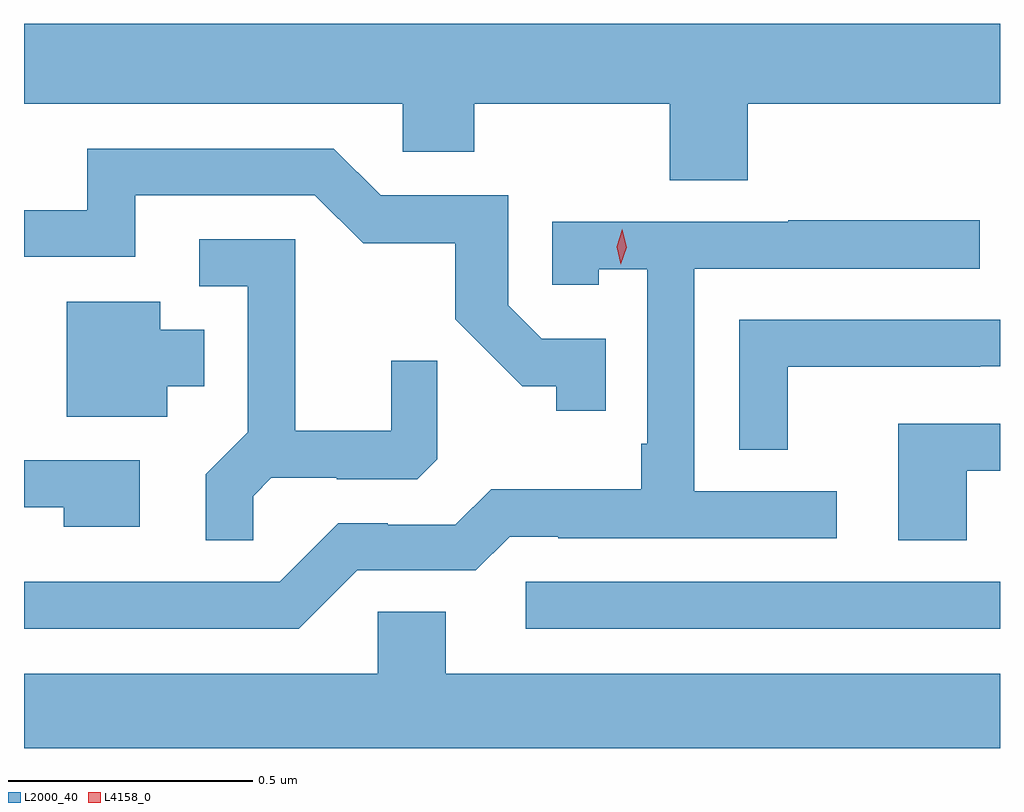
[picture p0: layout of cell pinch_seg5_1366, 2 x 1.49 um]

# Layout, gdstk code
import gdstk
lib = gdstk.Library(unit=1e-6, precision=1e-09)
def R(c, l, rs):  # rectangles x0, y0, x1, y1
    for r in rs: c.add(gdstk.rectangle(r[:2], r[2:], *l))
def P(c, l, *ps):  # polygons
    for p in ps: c.add(gdstk.Polygon(p, *l))
L2000_40 = (2000, 40)
L4158_0 = (4158, 0)

pinch_seg5_1366 = lib.new_cell('pinch_seg5_1366')
R(pinch_seg5_1366, L2000_40, [(325.209,874.332,326.181,874.428)])
P(pinch_seg5_1366, L2000_40, [(325.664,875.408),(326.181,875.408),(326.181,875.572),(324.181,875.572),(324.181,875.408),(324.957,875.408),(324.957,875.31),(325.104,875.31),(325.104,875.408),(325.504,875.408),(325.504,875.251),(325.664,875.251)],
  [(325.373,874.926),(325.242,874.926),(325.173,874.995),(325.173,875.22),(324.912,875.22),(324.816,875.316),(324.311,875.316),(324.311,875.19),(324.181,875.19),(324.181,875.094),(324.409,875.094),(324.409,875.22),(324.777,875.22),(324.876,875.122),(325.065,875.122),(325.065,874.966),(325.202,874.829),(325.272,874.829),(325.272,874.779),(325.373,874.779)],
  [(324.864,874.452),(325.107,874.452),(325.176,874.521),(325.276,874.521),(325.276,874.518),(325.846,874.518),(325.846,874.614),(325.554,874.614),(325.554,875.07),(326.14,875.07),(326.14,875.169),(325.747,875.169),(325.747,875.166),(325.263,875.166),(325.263,875.037),(325.359,875.037),(325.359,875.069),(325.458,875.069),(325.458,874.711),(325.446,874.711),(325.446,874.618),(325.138,874.618),(325.065,874.545),(324.926,874.545),(324.926,874.548),(324.825,874.548),(324.705,874.428),(324.182,874.428),(324.182,874.332),(324.744,874.332)],
  [(324.651,874.604),(324.688,874.641),(324.822,874.641),(324.822,874.638),(324.987,874.638),(325.028,874.679),(325.028,874.881),(324.934,874.881),(324.934,874.738),(324.737,874.738),(324.737,875.13),(324.54,875.13),(324.54,875.034),(324.639,875.034),(324.639,874.735),(324.553,874.649),(324.553,874.513),(324.651,874.513)],
  [(324.475,874.829),(324.55,874.829),(324.55,874.945),(324.46,874.945),(324.46,875.002),(324.269,875.002),(324.269,874.766),(324.475,874.766)],
  [(325.746,874.869),(326.141,874.869),(326.141,874.87),(326.181,874.87),(326.181,874.965),(325.647,874.965),(325.647,874.699),(325.746,874.699)],
  [(326.113,874.656),(326.181,874.656),(326.181,874.752),(325.973,874.752),(325.973,874.513),(326.113,874.513)],
  [(324.418,874.677),(324.181,874.677),(324.181,874.581),(324.262,874.581),(324.262,874.541),(324.418,874.541)],
  [(326.181,874.24),(325.045,874.24),(325.045,874.367),(324.906,874.367),(324.906,874.24),(324.181,874.24),(324.181,874.087),(326.181,874.087)])
P(pinch_seg5_1366, L4158_0, [(325.404,875.079),(325.404,875.079),(325.396,875.115),(325.407,875.151),(325.407,875.151),(325.407,875.151),(325.416,875.114),(325.404,875.079)])

lib.write_gds('pinch_seg5_1366.gds')
